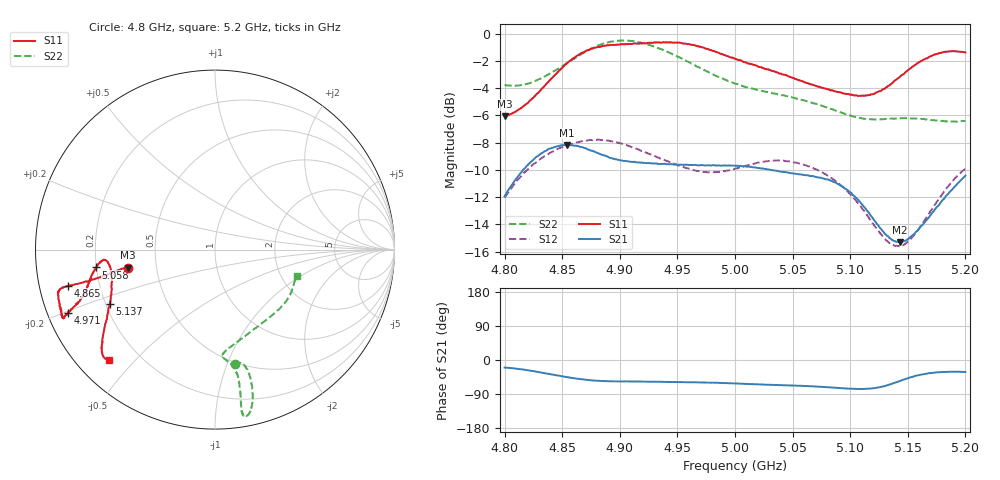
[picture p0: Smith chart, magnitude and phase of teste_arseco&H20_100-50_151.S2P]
! Network Analyzer HP8722D
! Hewlett-Packard
! Data name: Linha & Wilkinson
! Saver's name: Rodrigo Anjos
! Comments: Teste da utilização de aquisição
! continua pelo VNA HP8722D
! Time and date: 6/5/2025 13:49
!  Frequency  S11  S21  S12  S22
# HZ  S  MA R 50
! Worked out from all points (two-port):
!   401 points, 4.8 GHz to 5.2 GHz, reference 50 ohm
!   highest |S21| = -8.16 dB at 4.854 GHz (marker M1); lowest = -15.3 dB at 5.143 GHz (marker M2)
!   |S21| within 3 dB of the highest: 4.806 GHz to 5.092 GHz (286.1 MHz wide, 5.78 % of centre); 5.191493 GHz to end of sweep
!   lowest |S11| = -6.1 dB at 4.8 GHz (marker M3), VSWR 2.98, Z = 16.9 - j4.54 ohm
!   |S11| at or under -10 dB: nowhere
!   |S22| runs from -6.5 to -0.5 dB; largest |S21 - S12| = 0.62
!   S11 on the Smith chart (normalised r, x): 4.8 GHz: 0.34, -0.09; 4.865 GHz: 0.09, -0.12; 4.971 GHz: 0.06, -0.21; 5.058 GHz: 0.20, -0.07; 5.137 GHz: 0.22, -0.23; 5.2 GHz: 0.09, -0.42
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4.8e9  0.4977 -168.3  0.253 -19.8  0.25 -141.0  0.6481 -80.3
4.828e9  0.6015 -167.1  0.3541 -31.0  0.3388 -145.0  0.6751 -75.5
4.854e9  0.7776 -166.0  0.3906 -45.2  0.3887 -150.0  0.7799 -74.8
4.865e9  0.8409 -166.2  0.3848 -50.1  0.4009 -152.0  0.8329 -75.3
4.867e9  0.851 -166.1  0.3834 -51.1  0.4028 -152.3  0.8434 -75.6
4.899e9  0.9119 -163.0  0.3441 -56.6  0.3978 -156.9  0.9427 -79.2
4.914e9  0.9208 -159.9  0.3369 -56.6  0.3783 -157.2  0.936 -80.3
4.934e9  0.9294 -156.6  0.3326 -57.5  0.3503 -155.8  0.8826 -80.5
4.971e9  0.892 -156.6  0.3289 -59.4  0.3117 -146.6  0.7438 -79.7
5e9  0.8091 -159.1  0.3275 -62.0  0.3195 -137.4  0.656 -81.3
5.035e9  0.7242 -165.4  0.3142 -65.9  0.3421 -134.4  0.602 -85.7
5.058e9  0.6707 -171.5  0.3041 -68.3  0.3316 -136.3  0.5714 -84.6
5.067e9  0.6505 -173.1  0.3004 -69.3  0.3228 -136.9  0.5577 -82.5
5.087e9  0.6146 -174.7  0.2843 -73.2  0.2887 -138.7  0.5228 -74.8
5.103e9  0.594 -171.5  0.2541 -76.2  0.2491 -138.8  0.496 -65.2
5.117e9  0.5957 -164.8  0.2174 -75.6  0.2084 -135.1  0.4858 -55.1
5.134e9  0.6456 -154.2  0.1778 -65.2  0.1702 -120.6  0.4877 -43.3
5.137e9  0.6611 -152.6  0.1743 -62.1  0.1677 -116.7  0.4873 -41.4
5.143e9  0.6936 -149.4  0.1715 -55.5  0.1659 -108.7  0.4893 -38.0
5.154e9  0.7564 -144.6  0.1818 -44.4  0.1794 -94.9  0.4887 -32.3
5.172e9  0.834 -139.1  0.2217 -33.6  0.2306 -81.3  0.4814 -24.5
5.2e9  0.8536 -133.8  0.3011 -31.6  0.3196 -77.0  0.4782 -17.6
